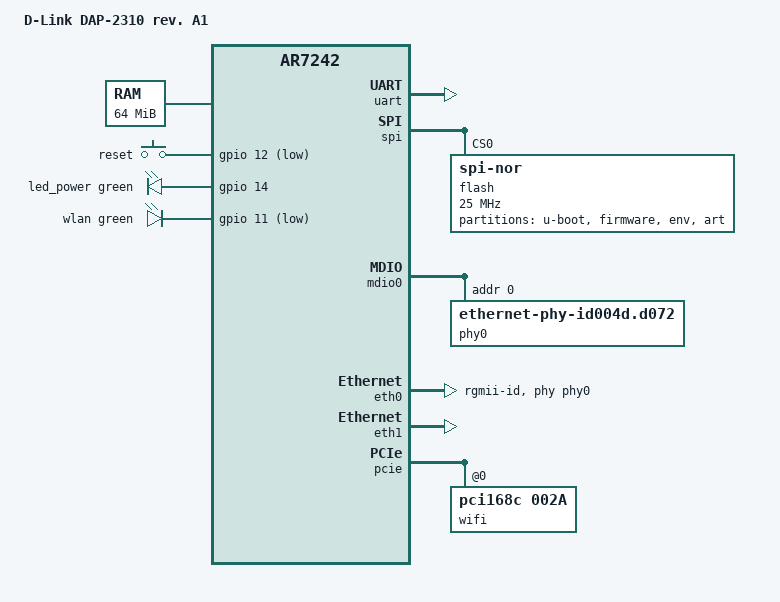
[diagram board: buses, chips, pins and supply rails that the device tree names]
/dts-v1/;
#include "ar7242.dtsi"
#include <dt-bindings/gpio/gpio.h>
#include <dt-bindings/input/input.h>
#include <dt-bindings/leds/common.h>

/ {
        compatible = "dlink,dap-2310-a1", "qca,ar7242";
        model = "D-Link DAP-2310 rev. A1";

        aliases {
                led-boot = &led_power;
                led-failsafe = &led_power;
                led-running = &led_power;
        };

        chosen {
                bootargs = "console=ttyS0,115200";
        };

        memory@0 {
                device_type = "memory";
                reg = <0x0 0x04000000>;
        };

        keys {
                compatible = "gpio-keys";

                reset {
                        label = "reset";
                        linux,code = <KEY_RESTART>;
                        gpios = <&gpio 12 GPIO_ACTIVE_LOW>;
                        debounce-interval = <60>;
                };
        };

        leds {
                compatible = "gpio-leds";

                led_power: power {
                        function = LED_FUNCTION_POWER;
                        color = <LED_COLOR_ID_GREEN>;
                        gpios = <&gpio 14 GPIO_ACTIVE_HIGH>;
                        default-state = "on";
                };

                wlan {
                        function = LED_FUNCTION_WLAN;
                        color = <LED_COLOR_ID_GREEN>;
                        gpios = <&gpio 11 GPIO_ACTIVE_LOW>;
                        linux,default-trigger = "netdev";
                        trigger-device = "wlan0";
                        trigger-sources = <&wlan_netdev>;
                };
        };
};

&uart {
        status = "okay";
};

&spi {
        status = "okay";

        flash@0 {
                compatible = "jedec,spi-nor";
                reg = <0>;
                spi-max-frequency = <25000000>;
                #address-cells = <1>;
                #size-cells = <1>;

                partitions {
                        compatible = "fixed-partitions";
                        #address-cells = <1>;
                        #size-cells = <1>;

                        partition@0 {
                                label = "u-boot";
                                reg = <0x000000 0x020000>;
                                read-only;
                        };

                        partition@20000 {
                                compatible = "denx,uimage";
                                label = "firmware";
                                reg = <0x020000 0xfc0000>;
                        };

                        partition@fe0000 {
                                label = "env";
                                reg = <0xfe0000 0x010000>;
                        };

                        art: partition@ff0000 {
                                compatible = "nvmem-cells";
                                label = "art";
                                reg = <0xff0000 0x010000>;
                                read-only;
                                #address-cells = <1>;
                                #size-cells = <1>;

                                macaddr_lan: macaddr@0 {
                                        reg = <0x0 0x6>;
                                };

                                macaddr_wlan: macaddr@6 {
                                        reg = <0x6 0x6>;
                                };

                                cal_art: cal@1000 {
                                        reg = <0x1000 0x1000>;
                                };
                        };
                };
        };
};

&mdio0 {
        status = "okay";

        phy0: ethernet-phy@0 {
                reg = <0>;
                compatible = "ethernet-phy-id004d.d072", "ethernet-phy-ieee802.3-c22";
                eee-broken-100tx;
                eee-broken-1000t;
        };
};

&eth0 {
        status = "okay";
        phy-mode = "rgmii-id";
        pll-data = <0x02000000 0x00000101 0x00001313>;
        phy-handle = <&phy0>;
        
        nvmem-cells = <&macaddr_lan>;
        nvmem-cell-names = "mac-address";
};

&eth1 {
        status = "okay";
        mac-address = [00 03 7F A0 11 44];
};

&pcie {
        status = "okay";
        qca,retries = <3>;
        qca,clk-mux = <0>;
        qca,phy-mode = "pcie";

        wifi@0,0 {
                compatible = "pci168c,002a";
                reg = <0x0000 0 0 0 0>;
                nvmem-cells = <&macaddr_wlan>, <&cal_art>;
                nvmem-cell-names = "mac-address", "calibration";
                
                wlan_netdev: wlan-netdev {
                };
        };
};
